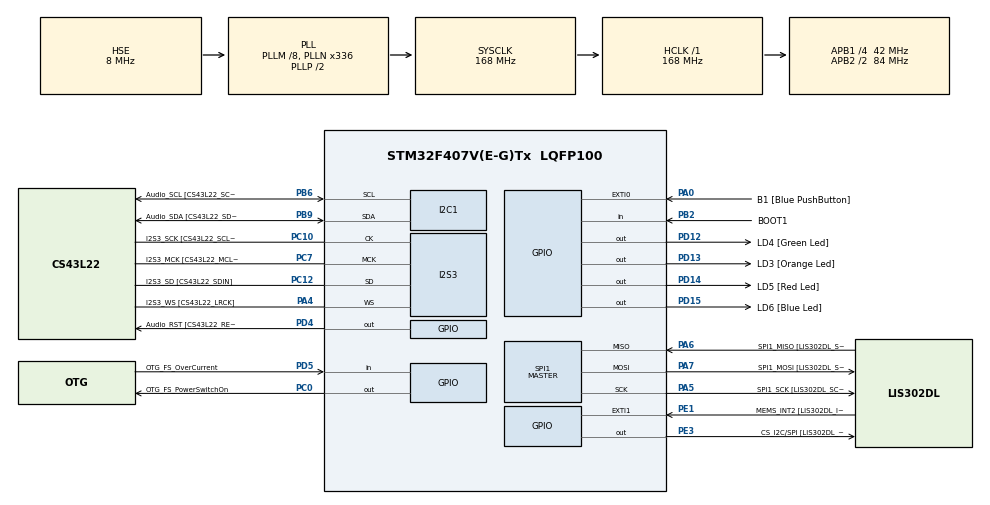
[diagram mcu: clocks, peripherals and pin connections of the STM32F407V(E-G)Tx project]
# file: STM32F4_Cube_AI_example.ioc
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I2S3.AudioFreq-Half_Duplex_Master=I2S_AUDIOFREQ_96K
I2S3.ErrorAudioFreq=-2.34 %
I2S3.ErrorAudioFreq-Half_Duplex_Master=0.8 %
I2S3.FullDuplexMode=I2S_FULLDUPLEXMODE_DISABLE
I2S3.Instance=SPI$Index
I2S3.RealAudioFreq=93.75 KHz
I2S3.RealAudioFreq-Half_Duplex_Master=96.774 KHz
I2S3.VirtualMode=I2S_MODE_MASTER
Mcu.Family=STM32F4
Mcu.Name=STM32F407V(E-G)Tx
Mcu.Package=LQFP100
NVIC.PriorityGroup=NVIC_PRIORITYGROUP_0
PA0-WKUP.GPIO_Label=B1 [Blue PushButton]
PA0-WKUP.GPIO_ModeDefaultEXTI=GPIO_MODE_EVT_RISING
PA0-WKUP.GPIO_PuPd=GPIO_NOPULL
PA0-WKUP.Signal=GPXTI0
PA10.GPIO_Label=OTG_FS_ID
PA10.GPIO_Mode=GPIO_MODE_AF_PP
PA10.GPIO_PuPd=GPIO_NOPULL
PA10.GPIO_Speed=GPIO_SPEED_FREQ_LOW
PA10.Signal=USB_OTG_FS_ID
PA11.GPIO_Label=OTG_FS_DM
PA11.GPIO_Mode=GPIO_MODE_AF_PP
PA11.GPIO_PuPd=GPIO_NOPULL
PA11.GPIO_Speed=GPIO_SPEED_FREQ_LOW
PA11.Signal=USB_OTG_FS_DM
PA12.GPIO_Label=OTG_FS_DP
PA12.GPIO_Mode=GPIO_MODE_AF_PP
PA12.GPIO_PuPd=GPIO_NOPULL
PA12.GPIO_Speed=GPIO_SPEED_FREQ_LOW
PA12.Signal=USB_OTG_FS_DP
PA13.GPIO_Label=SWDIO
PA13.Mode=Serial_Wire
PA13.Signal=SYS_JTMS-SWDIO
PA14.GPIO_Label=SWCLK
PA14.Mode=Serial_Wire
PA14.Signal=SYS_JTCK-SWCLK
PA4.GPIO_Label=I2S3_WS [CS43L22_LRCK]
PA4.GPIO_Mode=GPIO_MODE_AF_PP
PA4.GPIO_PuPd=GPIO_NOPULL
PA4.GPIO_Speed=GPIO_SPEED_FREQ_LOW
PA4.Mode=Half_Duplex_Master
PA4.Signal=I2S3_WS
PA5.GPIO_Label=SPI1_SCK [LIS302DL_SCL/SPC]
PA5.GPIO_Mode=GPIO_MODE_AF_PP
PA5.GPIO_PuPd=GPIO_NOPULL
PA5.GPIO_Speed=GPIO_SPEED_FREQ_LOW
PA5.Mode=Full_Duplex_Master
PA5.Signal=SPI1_SCK
PA6.GPIO_Label=SPI1_MISO [LIS302DL_SDO]
PA6.GPIO_Mode=GPIO_MODE_AF_PP
PA6.GPIO_PuPd=GPIO_NOPULL
PA6.GPIO_Speed=GPIO_SPEED_FREQ_LOW
PA6.Mode=Full_Duplex_Master
PA6.Signal=SPI1_MISO
PA7.GPIO_Label=SPI1_MOSI [LIS302DL_SDA/SDI/SDO]
PA7.GPIO_Mode=GPIO_MODE_AF_PP
PA7.GPIO_PuPd=GPIO_NOPULL
PA7.GPIO_Speed=GPIO_SPEED_FREQ_LOW
PA7.Mode=Full_Duplex_Master
PA7.Signal=SPI1_MOSI
PA9.GPIO_Label=VBUS_FS
PA9.GPIO_Mode=GPIO_MODE_INPUT
PA9.GPIO_PuPd=GPIO_NOPULL
PA9.Signal=USB_OTG_FS_VBUS
PB10.GPIO_Label=CLK_IN [MP45DT02_CLK]
PB10.GPIO_Mode=GPIO_MODE_AF_PP
PB10.GPIO_PuPd=GPIO_NOPULL
PB10.GPIO_Speed=GPIO_SPEED_FREQ_LOW
PB10.Signal=I2S2_CK
PB2.GPIO_Label=BOOT1
PB2.GPIO_Mode=GPIO_MODE_INPUT
PB2.GPIO_PuPd=GPIO_NOPULL
PB2.Signal=GPIO_Input
PB3.GPIO_Label=SWO
PB3.Signal=SYS_JTDO-SWO
PB6.GPIO_Label=Audio_SCL [CS43L22_SCL]
PB6.GPIO_Mode=GPIO_MODE_AF_OD
PB6.GPIO_Pu=GPIO_PULLUP
PB6.GPIO_PuPd=GPIO_NOPULL
PB6.GPIO_Speed=GPIO_SPEED_FREQ_LOW
PB6.Mode=I2C
PB6.Signal=I2C1_SCL
PB9.GPIO_Label=Audio_SDA [CS43L22_SDA]
PB9.GPIO_Mode=GPIO_MODE_AF_OD
PB9.GPIO_Pu=GPIO_PULLUP
PB9.GPIO_PuPd=GPIO_NOPULL
PB9.GPIO_Speed=GPIO_SPEED_FREQ_LOW
PB9.Mode=I2C
PB9.Signal=I2C1_SDA
PC0.GPIO_Label=OTG_FS_PowerSwitchOn
PC0.GPIO_PuPd=GPIO_NOPULL
PC0.GPIO_Speed=GPIO_SPEED_FREQ_LOW
PC0.PinState=GPIO_PIN_SET
PC0.Signal=GPIO_Output
PC10.GPIO_Label=I2S3_SCK [CS43L22_SCLK]
PC10.GPIO_Mode=GPIO_MODE_AF_PP
PC10.GPIO_PuPd=GPIO_NOPULL
PC10.GPIO_Speed=GPIO_SPEED_FREQ_LOW
PC10.Mode=Half_Duplex_Master
PC10.Signal=I2S3_CK
PC12.GPIO_Label=I2S3_SD [CS43L22_SDIN]
PC12.GPIO_Mode=GPIO_MODE_AF_PP
PC12.GPIO_PuPd=GPIO_NOPULL
PC12.GPIO_Speed=GPIO_SPEED_FREQ_LOW
PC12.Mode=Half_Duplex_Master
PC12.Signal=I2S3_SD
PC14-OSC32_IN.GPIO_Label=PC14-OSC32_IN
PC14-OSC32_IN.Mode=LSE-External-Oscillator
PC14-OSC32_IN.Signal=RCC_OSC32_IN
PC15-OSC32_OUT.GPIO_Label=PC15-OSC32_OUT
PC15-OSC32_OUT.Mode=LSE-External-Oscillator
PC15-OSC32_OUT.Signal=RCC_OSC32_OUT
PC3.GPIO_Label=PDM_OUT [MP45DT02_DOUT]
PC3.GPIO_Mode=GPIO_MODE_AF_PP
PC3.GPIO_PuPd=GPIO_NOPULL
PC3.GPIO_Speed=GPIO_SPEED_FREQ_LOW
PC3.Signal=I2S2_SD
PC7.GPIO_Label=I2S3_MCK [CS43L22_MCLK]
PC7.GPIO_Mode=GPIO_MODE_AF_PP
PC7.GPIO_PuPd=GPIO_NOPULL
PC7.GPIO_Speed=GPIO_SPEED_FREQ_LOW
PC7.Mode=Master_Clock_Activated
PC7.Signal=I2S3_MCK
PD12.GPIO_Label=LD4 [Green Led]
PD12.GPIO_PuPd=GPIO_NOPULL
PD12.GPIO_Speed=GPIO_SPEED_FREQ_LOW
PD12.Signal=GPIO_Output
PD13.GPIO_Label=LD3 [Orange Led]
PD13.GPIO_PuPd=GPIO_NOPULL
PD13.GPIO_Speed=GPIO_SPEED_FREQ_LOW
PD13.Signal=GPIO_Output
PD14.GPIO_Label=LD5 [Red Led]
PD14.GPIO_PuPd=GPIO_NOPULL
PD14.GPIO_Speed=GPIO_SPEED_FREQ_LOW
PD14.Signal=GPIO_Output
PD15.GPIO_Label=LD6 [Blue Led]
PD15.GPIO_PuPd=GPIO_NOPULL
PD15.GPIO_Speed=GPIO_SPEED_FREQ_LOW
PD15.Signal=GPIO_Output
PD4.GPIO_Label=Audio_RST [CS43L22_RESET]
PD4.GPIO_PuPd=GPIO_NOPULL
PD4.GPIO_Speed=GPIO_SPEED_FREQ_LOW
PD4.Signal=GPIO_Output
PD5.GPIO_Label=OTG_FS_OverCurrent
PD5.GPIO_Mode=GPIO_MODE_INPUT
PD5.GPIO_PuPd=GPIO_NOPULL
PD5.Signal=GPIO_Input
PE1.GPIO_Label=MEMS_INT2 [LIS302DL_INT2]
PE1.GPIO_ModeDefaultEXTI=GPIO_MODE_EVT_RISING
PE1.GPIO_PuPd=GPIO_NOPULL
PE1.Signal=GPXTI1
PE3.GPIO_Label=CS_I2C/SPI [LIS302DL_CS_I2C/SPI]
PE3.GPIO_PuPd=GPIO_NOPULL
PE3.GPIO_Speed=GPIO_SPEED_FREQ_LOW
PE3.Signal=GPIO_Output
PH0-OSC_IN.GPIO_Label=PH0-OSC_IN
PH0-OSC_IN.Mode=HSE-External-Oscillator
PH0-OSC_IN.Signal=RCC_OSC_IN
PH1-OSC_OUT.GPIO_Label=PH1-OSC_OUT
PH1-OSC_OUT.Mode=HSE-External-Oscillator
PH1-OSC_OUT.Signal=RCC_OSC_OUT
ProjectManager.HeapSize=0x800
ProjectManager.StackSize=0x800
ProjectManager.TargetToolchain=STM32CubeIDE
RCC.48MHZClocksFreq_Value=48000000
RCC.AHBFreq_Value=168000000
RCC.APB1CLKDivider=RCC_HCLK_DIV4
RCC.APB1Freq_Value=42000000
RCC.APB1TimFreq_Value=84000000
RCC.APB2CLKDivider=RCC_HCLK_DIV2
RCC.APB2Freq_Value=84000000
RCC.APB2TimFreq_Value=168000000
RCC.CortexFreq_Value=168000000
RCC.HCLKFreq_Value=168000000
RCC.HSE_VALUE=8000000
RCC.HSI_VALUE=16000000
RCC.PLLM=8
RCC.PLLN=336
RCC.PLLQ=7
RCC.PLLSourceVirtual=RCC_PLLSOURCE_HSE
RCC.SYSCLKFreq_VALUE=168000000
RCC.SYSCLKSource=RCC_SYSCLKSOURCE_PLLCLK
RCC.VCOOutputFreq_Value=336000000
SPI1.BaudRatePrescaler-Full_Duplex_Master=SPI_BAUDRATEPRESCALER_2
SPI1.CalculateBaudRate-Full_Duplex_Master=42.0 MBits/s
SPI1.Direction=SPI_DIRECTION_2LINES
SPI1.Mode=SPI_MODE_MASTER
SPI1.Mode-Full_Duplex_Master=SPI_MODE_MASTER
SPI1.VirtualType=VM_MASTER
STMicroelectronics.X-CUBE-AI.7.3.0.ActivationBufferSizeList=128
STMicroelectronics.X-CUBE-AI.7.3.0.ActivationBuffers=pool0
STMicroelectronics.X-CUBE-AI.7.3.0.ActivationNames=pool0
STMicroelectronics.X-CUBE-AI.7.3.0.ActivationSizes=AI_NETWORK_DATA_ACTIVATION_1_SIZE
STMicroelectronics.X-CUBE-AI.7.3.0.HeapSize=0x800
STMicroelectronics.X-CUBE-AI.7.3.0.InternalRamActivationBufferMaxSize=AI_NETWORK_DATA_ACTIVATIONS_SIZE
STMicroelectronics.X-CUBE-AI.7.3.0.LatestDirectoryUsed-0f559ad4d425e14c185a2b08b6567fad1fa1fab6d620075d2f7ca78429a6f087=C\:\\Users\\Sarunas\\Documents\\KTU\\AI\\TinyML_bandymai
STMicroelectronics.X-CUBE-AI.7.3.0.MaximumNumberOfInputLayer=1
STMicroelectronics.X-CUBE-AI.7.3.0.MaximumNumberOfOutputLayer=1
STMicroelectronics.X-CUBE-AI.7.3.0.MaximumSizeOfInputLayer=1
STMicroelectronics.X-CUBE-AI.7.3.0.MaximumSizeOfOutputLayer=1
STMicroelectronics.X-CUBE-AI.7.3.0.ModelActualCompression-0f559ad4d425e14c185a2b08b6567fad1fa1fab6d620075d2f7ca78429a6f087=0.0
STMicroelectronics.X-CUBE-AI.7.3.0.ModelCompression-0f559ad4d425e14c185a2b08b6567fad1fa1fab6d620075d2f7ca78429a6f087=None
STMicroelectronics.X-CUBE-AI.7.3.0.ModelFlashOccupation-0f559ad4d425e14c185a2b08b6567fad1fa1fab6d620075d2f7ca78429a6f087=1284
STMicroelectronics.X-CUBE-AI.7.3.0.ModelHashList=0f559ad4d425e14c185a2b08b6567fad1fa1fab6d620075d2f7ca78429a6f087
STMicroelectronics.X-CUBE-AI.7.3.0.ModelKind-0f559ad4d425e14c185a2b08b6567fad1fa1fab6d620075d2f7ca78429a6f087=TFLITE
STMicroelectronics.X-CUBE-AI.7.3.0.ModelMacc-0f559ad4d425e14c185a2b08b6567fad1fa1fab6d620075d2f7ca78429a6f087=353
STMicroelectronics.X-CUBE-AI.7.3.0.ModelName-0f559ad4d425e14c185a2b08b6567fad1fa1fab6d620075d2f7ca78429a6f087=network
STMicroelectronics.X-CUBE-AI.7.3.0.ModelNameList=network
STMicroelectronics.X-CUBE-AI.7.3.0.ModelRamOccupation-0f559ad4d425e14c185a2b08b6567fad1fa1fab6d620075d2f7ca78429a6f087=128
STMicroelectronics.X-CUBE-AI.7.3.0.ModelStructureFile-0f559ad4d425e14c185a2b08b6567fad1fa1fab6d620075d2f7ca78429a6f087=C\:\\Users\\Sarunas\\Documents\\KTU\\AI\\TinyML_bandymai\\sine_model.tflite
STMicroelectronics.X-CUBE-AI.7.3.0.ModelType-0f559ad4d425e14c185a2b08b6567fad1fa1fab6d620075d2f7ca78429a6f087=STM32Cube.AI runtime
STMicroelectronics.X-CUBE-AI.7.3.0.ReadyForCodeGeneration=true
STMicroelectronics.X-CUBE-AI.7.3.0.StackSize=0x800
STMicroelectronics.X-CUBE-AI.7.3.0.WorkingBufferStartAddrList=0xFFFFFFFF
STMicroelectronics.X-CUBE-AI.7.3.0.XAaCUBEAaAICcArtificialOoIntelligenceJjCore=true
STMicroelectronics.X-CUBE-AI.7.3.0.copyWeightToRam=false
STMicroelectronics.X-CUBE-AI.7.3.0.copyWeightToRam-0f559ad4d425e14c185a2b08b6567fad1fa1fab6d620075d2f7ca78429a6f087=false
STMicroelectronics.X-CUBE-AI.7.3.0.customLayerConfigEnabled=false
STMicroelectronics.X-CUBE-AI.7.3.0.customLayerConfigEnabled-0f559ad4d425e14c185a2b08b6567fad1fa1fab6d620075d2f7ca78429a6f087=false
STMicroelectronics.X-CUBE-AI.7.3.0.useInputAllocation=true
STMicroelectronics.X-CUBE-AI.7.3.0.useInputAllocation-0f559ad4d425e14c185a2b08b6567fad1fa1fab6d620075d2f7ca78429a6f087=true
STMicroelectronics.X-CUBE-AI.7.3.0.useOutputAllocation=true
STMicroelectronics.X-CUBE-AI.7.3.0.useOutputAllocation-0f559ad4d425e14c185a2b08b6567fad1fa1fab6d620075d2f7ca78429a6f087=true
TIM6.Period=65535-1
TIM6.Prescaler=84-1
VP_CRC_VS_CRC.Mode=CRC_Activate
VP_STMicroelectronics.X-CUBE-AI_VS_ArtificialOoIntelligenceJjXAaCUBEAaAI_7.3.0.Mode=ArtificialOoIntelligenceJjXAaCUBEAaAI
VP_TIM6_VS_ClockSourceINT.Mode=Enable_Timer
board=STM32F407G-DISC1

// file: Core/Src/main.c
/* USER CODE BEGIN Header */
/**
  ******************************************************************************
  * @file           : main.c
  * @brief          : Main program body
  ******************************************************************************
  * @attention
  *
  * Copyright (c) 2023 STMicroelectronics.
  * All rights reserved.
  *
  * This software is licensed under terms that can be found in the LICENSE file
  * in the root directory of this software component.
  * If no LICENSE file comes with this software, it is provided AS-IS.
  *
  ******************************************************************************
  */
/* USER CODE END Header */
#include "main.h"

/* USER CODE BEGIN Includes */
#include "stdio.h"

// AI - Include header files
#include "ai_platform.h"	// Interface header file
#include "network.h"		// Model-specific header file
#include "network_data.h"	// Model-specific header file

/* USER CODE END Includes */

CRC_HandleTypeDef hcrc;

I2C_HandleTypeDef hi2c1;

I2S_HandleTypeDef hi2s3;

SPI_HandleTypeDef hspi1;

TIM_HandleTypeDef htim6;

/* USER CODE BEGIN PV */

// AI - declare neural-network buffers
ai_handle network;							// Pointer to the model
float aiInData[AI_NETWORK_IN_1_SIZE];		// NN input buffer
float aiOutData[AI_NETWORK_OUT_1_SIZE];		// NN output buffer
ai_u8 activations[AI_NETWORK_DATA_ACTIVATIONS_SIZE];	// The activations buffer. To store intermediate results
ai_buffer * ai_input;						// holds pointers to data and info about the data
ai_buffer * ai_output;						// holds pointers to data and info about the data

/* USER CODE END PV */

void SystemClock_Config(void);
static void MX_GPIO_Init(void);
static void MX_I2C1_Init(void);
static void MX_I2S3_Init(void);
static void MX_SPI1_Init(void);
static void MX_CRC_Init(void);
static void MX_TIM6_Init(void);
/* USER CODE BEGIN PFP */

// AI - bootstrapping functions
static void AI_Init(void);
static void AI_Run(float *pIn, float *pOut);

/* USER CODE END PFP */

/* USER CODE BEGIN 0 */

//For debug purposes: printf() sends data to ITM console
//write() function implementation for the printf()
int _write(int file, char *ptr, int len)
{
	/* Implement your write code here, this is used by puts and printf for example */
	for(int i=0 ; i<len ; i++)
		ITM_SendChar((*ptr++));
	return len;
}

static void AI_Init(void)
{
	ai_error err;

	/* Create a local array with the addresses of the activations buffers */
	const ai_handle act_addr[] = { activations };
	/* Create an instance of the model */
	err = ai_network_create_and_init(&network, act_addr, NULL);
	if (err.type != AI_ERROR_NONE) {
		printf("ai_network_create error - type=%d code=%d\r\n", err.type, err.code);
		Error_Handler();
	}
	ai_input = ai_network_inputs_get(network, NULL);
	ai_output = ai_network_outputs_get(network, NULL);
}

static void AI_Run(float *pIn, float *pOut)
{
	ai_i32 batch;
	ai_error err;

	/* Update IO handlers with the data payload */
	ai_input[0].data = AI_HANDLE_PTR(pIn);
	ai_output[0].data = AI_HANDLE_PTR(pOut);
	/* Run the network */
	batch = ai_network_run(network, ai_input, ai_output);
	if (batch != 1) {
		err = ai_network_get_error(network);
		printf("AI ai_network_run error - type=%d code=%d\r\n", err.type, err.code);
		Error_Handler();
	}
}

/* USER CODE END 0 */

int main(void)
{
  /* USER CODE BEGIN 1 */
	uint32_t timestamp;		// For the interference duration

  /* USER CODE END 1 */

  /* MCU Configuration--------------------------------------------------------*/

  /* Reset of all peripherals, Initializes the Flash interface and the Systick. */
  HAL_Init();

  /* Configure the system clock */
  SystemClock_Config();

  /* Initialize all configured peripherals */
  MX_GPIO_Init();
  MX_I2C1_Init();
  MX_I2S3_Init();
  MX_SPI1_Init();
  MX_CRC_Init();
  MX_TIM6_Init();
  /* USER CODE BEGIN 2 */

  // Start timer/counter
  HAL_TIM_Base_Start(&htim6);

  printf("Hello world!\n");
  printf("STM32 X-Cube-AI test\n");

  //Initialize neural network
  AI_Init();

  // GreenLed On
  HAL_GPIO_WritePin(LD4_GPIO_Port, LD4_Pin,GPIO_PIN_SET);

  /* USER CODE END 2 */

  /* Infinite loop */
  /* USER CODE BEGIN WHILE */

  while (1)
  {
	  // Fill input buffer with test data
	  // In this case buffer length is equal to 1
	  for(uint32_t i = 0; i < AI_NETWORK_IN_1_SIZE; i++)
	  {
		  aiInData[i] = (float)2.0f;
	  }

	  // Get current time stamp
	  timestamp = htim6.Instance->CNT;

	  // Perform interference
	  printf("Running inference, ");
	  AI_Run(aiInData, aiOutData);

	  // Print output from neural network
	  // To use %f, allow it in the project settings
	  printf("Output:");
	  for(uint32_t i = 0; i < AI_NETWORK_OUT_1_SIZE; i++)
	  {
		  printf(" %f", aiOutData[i]);
	  }

	  // Print duration
	  printf(", Duration: %lu us\n", htim6.Instance->CNT - timestamp);

	  HAL_Delay(1000);

    /* USER CODE END WHILE */

  }
}

void SystemClock_Config(void)
{
  RCC_OscInitTypeDef RCC_OscInitStruct = {0};
  RCC_ClkInitTypeDef RCC_ClkInitStruct = {0};

  /** Configure the main internal regulator output voltage
  */
  __HAL_RCC_PWR_CLK_ENABLE();
  __HAL_PWR_VOLTAGESCALING_CONFIG(PWR_REGULATOR_VOLTAGE_SCALE1);

  /** Initializes the RCC Oscillators according to the specified parameters
  * in the RCC_OscInitTypeDef structure.
  */
  RCC_OscInitStruct.OscillatorType = RCC_OSCILLATORTYPE_HSE;
  RCC_OscInitStruct.HSEState = RCC_HSE_ON;
  RCC_OscInitStruct.PLL.PLLState = RCC_PLL_ON;
  RCC_OscInitStruct.PLL.PLLSource = RCC_PLLSOURCE_HSE;
  RCC_OscInitStruct.PLL.PLLM = 8;
  RCC_OscInitStruct.PLL.PLLN = 336;
  RCC_OscInitStruct.PLL.PLLP = RCC_PLLP_DIV2;
  RCC_OscInitStruct.PLL.PLLQ = 7;
  if (HAL_RCC_OscConfig(&RCC_OscInitStruct) != HAL_OK)
  {
    Error_Handler();
  }

  /** Initializes the CPU, AHB and APB buses clocks
  */
  RCC_ClkInitStruct.ClockType = RCC_CLOCKTYPE_HCLK|RCC_CLOCKTYPE_SYSCLK
                              |RCC_CLOCKTYPE_PCLK1|RCC_CLOCKTYPE_PCLK2;
  RCC_ClkInitStruct.SYSCLKSource = RCC_SYSCLKSOURCE_PLLCLK;
  RCC_ClkInitStruct.AHBCLKDivider = RCC_SYSCLK_DIV1;
  RCC_ClkInitStruct.APB1CLKDivider = RCC_HCLK_DIV4;
  RCC_ClkInitStruct.APB2CLKDivider = RCC_HCLK_DIV2;

  if (HAL_RCC_ClockConfig(&RCC_ClkInitStruct, FLASH_LATENCY_5) != HAL_OK)
  {
    Error_Handler();
  }
}

static void MX_CRC_Init(void)
{

  hcrc.Instance = CRC;
  if (HAL_CRC_Init(&hcrc) != HAL_OK)
  {
    Error_Handler();
  }

}

static void MX_I2C1_Init(void)
{

  hi2c1.Instance = I2C1;
  hi2c1.Init.ClockSpeed = 100000;
  hi2c1.Init.DutyCycle = I2C_DUTYCYCLE_2;
  hi2c1.Init.OwnAddress1 = 0;
  hi2c1.Init.AddressingMode = I2C_ADDRESSINGMODE_7BIT;
  hi2c1.Init.DualAddressMode = I2C_DUALADDRESS_DISABLE;
  hi2c1.Init.OwnAddress2 = 0;
  hi2c1.Init.GeneralCallMode = I2C_GENERALCALL_DISABLE;
  hi2c1.Init.NoStretchMode = I2C_NOSTRETCH_DISABLE;
  if (HAL_I2C_Init(&hi2c1) != HAL_OK)
  {
    Error_Handler();
  }

}

static void MX_I2S3_Init(void)
{

  hi2s3.Instance = SPI3;
  hi2s3.Init.Mode = I2S_MODE_MASTER_TX;
  hi2s3.Init.Standard = I2S_STANDARD_PHILIPS;
  hi2s3.Init.DataFormat = I2S_DATAFORMAT_16B;
  hi2s3.Init.MCLKOutput = I2S_MCLKOUTPUT_ENABLE;
  hi2s3.Init.AudioFreq = I2S_AUDIOFREQ_96K;
  hi2s3.Init.CPOL = I2S_CPOL_LOW;
  hi2s3.Init.ClockSource = I2S_CLOCK_PLL;
  hi2s3.Init.FullDuplexMode = I2S_FULLDUPLEXMODE_DISABLE;
  if (HAL_I2S_Init(&hi2s3) != HAL_OK)
  {
    Error_Handler();
  }

}

static void MX_SPI1_Init(void)
{

  /* SPI1 parameter configuration*/
  hspi1.Instance = SPI1;
  hspi1.Init.Mode = SPI_MODE_MASTER;
  hspi1.Init.Direction = SPI_DIRECTION_2LINES;
  hspi1.Init.DataSize = SPI_DATASIZE_8BIT;
  hspi1.Init.CLKPolarity = SPI_POLARITY_LOW;
  hspi1.Init.CLKPhase = SPI_PHASE_1EDGE;
  hspi1.Init.NSS = SPI_NSS_SOFT;
  hspi1.Init.BaudRatePrescaler = SPI_BAUDRATEPRESCALER_2;
  hspi1.Init.FirstBit = SPI_FIRSTBIT_MSB;
  hspi1.Init.TIMode = SPI_TIMODE_DISABLE;
  hspi1.Init.CRCCalculation = SPI_CRCCALCULATION_DISABLE;
  hspi1.Init.CRCPolynomial = 10;
  if (HAL_SPI_Init(&hspi1) != HAL_OK)
  {
    Error_Handler();
  }

}

static void MX_TIM6_Init(void)
{

  TIM_MasterConfigTypeDef sMasterConfig = {0};

  htim6.Instance = TIM6;
  htim6.Init.Prescaler = 84-1;
  htim6.Init.CounterMode = TIM_COUNTERMODE_UP;
  htim6.Init.Period = 65535-1;
  htim6.Init.AutoReloadPreload = TIM_AUTORELOAD_PRELOAD_DISABLE;
  if (HAL_TIM_Base_Init(&htim6) != HAL_OK)
  {
    Error_Handler();
  }
  sMasterConfig.MasterOutputTrigger = TIM_TRGO_RESET;
  sMasterConfig.MasterSlaveMode = TIM_MASTERSLAVEMODE_DISABLE;
  if (HAL_TIMEx_MasterConfigSynchronization(&htim6, &sMasterConfig) != HAL_OK)
  {
    Error_Handler();
  }

}

static void MX_GPIO_Init(void)
{
  GPIO_InitTypeDef GPIO_InitStruct = {0};

  /* GPIO Ports Clock Enable */
  __HAL_RCC_GPIOE_CLK_ENABLE();
  __HAL_RCC_GPIOC_CLK_ENABLE();
  __HAL_RCC_GPIOH_CLK_ENABLE();
  __HAL_RCC_GPIOA_CLK_ENABLE();
  __HAL_RCC_GPIOB_CLK_ENABLE();
  __HAL_RCC_GPIOD_CLK_ENABLE();

  /*Configure GPIO pin Output Level */
  HAL_GPIO_WritePin(CS_I2C_SPI_GPIO_Port, CS_I2C_SPI_Pin, GPIO_PIN_RESET);

  /*Configure GPIO pin Output Level */
  HAL_GPIO_WritePin(OTG_FS_PowerSwitchOn_GPIO_Port, OTG_FS_PowerSwitchOn_Pin, GPIO_PIN_SET);

  /*Configure GPIO pin Output Level */
  HAL_GPIO_WritePin(GPIOD, LD4_Pin|LD3_Pin|LD5_Pin|LD6_Pin
                          |Audio_RST_Pin, GPIO_PIN_RESET);

  /*Configure GPIO pin : CS_I2C_SPI_Pin */
  GPIO_InitStruct.Pin = CS_I2C_SPI_Pin;
  GPIO_InitStruct.Mode = GPIO_MODE_OUTPUT_PP;
  GPIO_InitStruct.Pull = GPIO_NOPULL;
  GPIO_InitStruct.Speed = GPIO_SPEED_FREQ_LOW;
  HAL_GPIO_Init(CS_I2C_SPI_GPIO_Port, &GPIO_InitStruct);

  /*Configure GPIO pin : OTG_FS_PowerSwitchOn_Pin */
  GPIO_InitStruct.Pin = OTG_FS_PowerSwitchOn_Pin;
  GPIO_InitStruct.Mode = GPIO_MODE_OUTPUT_PP;
  GPIO_InitStruct.Pull = GPIO_NOPULL;
  GPIO_InitStruct.Speed = GPIO_SPEED_FREQ_LOW;
  HAL_GPIO_Init(OTG_FS_PowerSwitchOn_GPIO_Port, &GPIO_InitStruct);

  /*Configure GPIO pin : PDM_OUT_Pin */
  GPIO_InitStruct.Pin = PDM_OUT_Pin;
  GPIO_InitStruct.Mode = GPIO_MODE_AF_PP;
  GPIO_InitStruct.Pull = GPIO_NOPULL;
  GPIO_InitStruct.Speed = GPIO_SPEED_FREQ_LOW;
  GPIO_InitStruct.Alternate = GPIO_AF5_SPI2;
  HAL_GPIO_Init(PDM_OUT_GPIO_Port, &GPIO_InitStruct);

  /*Configure GPIO pin : B1_Pin */
  GPIO_InitStruct.Pin = B1_Pin;
  GPIO_InitStruct.Mode = GPIO_MODE_EVT_RISING;
  GPIO_InitStruct.Pull = GPIO_NOPULL;
  HAL_GPIO_Init(B1_GPIO_Port, &GPIO_InitStruct);

  /*Configure GPIO pin : BOOT1_Pin */
  GPIO_InitStruct.Pin = BOOT1_Pin;
  GPIO_InitStruct.Mode = GPIO_MODE_INPUT;
  GPIO_InitStruct.Pull = GPIO_NOPULL;
  HAL_GPIO_Init(BOOT1_GPIO_Port, &GPIO_InitStruct);

  /*Configure GPIO pin : CLK_IN_Pin */
  GPIO_InitStruct.Pin = CLK_IN_Pin;
  GPIO_InitStruct.Mode = GPIO_MODE_AF_PP;
  GPIO_InitStruct.Pull = GPIO_NOPULL;
  GPIO_InitStruct.Speed = GPIO_SPEED_FREQ_LOW;
  GPIO_InitStruct.Alternate = GPIO_AF5_SPI2;
  HAL_GPIO_Init(CLK_IN_GPIO_Port, &GPIO_InitStruct);

  /*Configure GPIO pins : LD4_Pin LD3_Pin LD5_Pin LD6_Pin
                           Audio_RST_Pin */
  GPIO_InitStruct.Pin = LD4_Pin|LD3_Pin|LD5_Pin|LD6_Pin
                          |Audio_RST_Pin;
  GPIO_InitStruct.Mode = GPIO_MODE_OUTPUT_PP;
  GPIO_InitStruct.Pull = GPIO_NOPULL;
  GPIO_InitStruct.Speed = GPIO_SPEED_FREQ_LOW;
  HAL_GPIO_Init(GPIOD, &GPIO_InitStruct);

  /*Configure GPIO pin : VBUS_FS_Pin */
  GPIO_InitStruct.Pin = VBUS_FS_Pin;
  GPIO_InitStruct.Mode = GPIO_MODE_INPUT;
  GPIO_InitStruct.Pull = GPIO_NOPULL;
  HAL_GPIO_Init(VBUS_FS_GPIO_Port, &GPIO_InitStruct);

  /*Configure GPIO pins : OTG_FS_ID_Pin OTG_FS_DM_Pin OTG_FS_DP_Pin */
  GPIO_InitStruct.Pin = OTG_FS_ID_Pin|OTG_FS_DM_Pin|OTG_FS_DP_Pin;
  GPIO_InitStruct.Mode = GPIO_MODE_AF_PP;
  GPIO_InitStruct.Pull = GPIO_NOPULL;
  GPIO_InitStruct.Speed = GPIO_SPEED_FREQ_LOW;
  GPIO_InitStruct.Alternate = GPIO_AF10_OTG_FS;
  HAL_GPIO_Init(GPIOA, &GPIO_InitStruct);

  /*Configure GPIO pin : OTG_FS_OverCurrent_Pin */
  GPIO_InitStruct.Pin = OTG_FS_OverCurrent_Pin;
  GPIO_InitStruct.Mode = GPIO_MODE_INPUT;
  GPIO_InitStruct.Pull = GPIO_NOPULL;
  HAL_GPIO_Init(OTG_FS_OverCurrent_GPIO_Port, &GPIO_InitStruct);

  /*Configure GPIO pin : MEMS_INT2_Pin */
  GPIO_InitStruct.Pin = MEMS_INT2_Pin;
  GPIO_InitStruct.Mode = GPIO_MODE_EVT_RISING;
  GPIO_InitStruct.Pull = GPIO_NOPULL;
  HAL_GPIO_Init(MEMS_INT2_GPIO_Port, &GPIO_InitStruct);

}

void Error_Handler(void)
{
  /* USER CODE BEGIN Error_Handler_Debug */
  /* User can add his own implementation to report the HAL error return state */
  __disable_irq();
  while (1)
  {
	  HAL_GPIO_TogglePin(LD5_GPIO_Port, LD5_Pin);
	  HAL_Delay(250); /* wait 50 ms */
  }
  /* USER CODE END Error_Handler_Debug */
}
